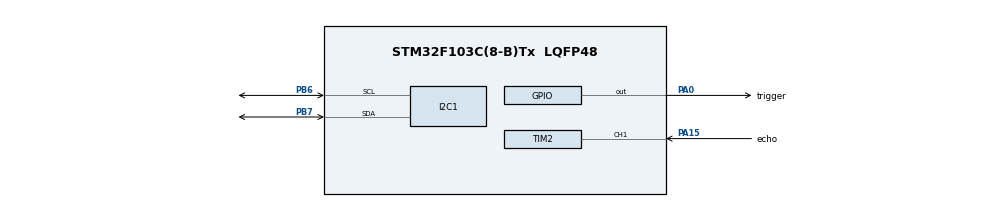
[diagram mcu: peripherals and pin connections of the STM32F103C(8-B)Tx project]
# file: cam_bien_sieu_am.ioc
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Mcu.Family=STM32F1
Mcu.Name=STM32F103C(8-B)Tx
Mcu.Package=LQFP48
NVIC.PriorityGroup=NVIC_PRIORITYGROUP_4
NVIC.TIM2_IRQn=true\:0\:0\:false\:false\:true\:true\:true\:true
PA0-WKUP.GPIO_Label=trigger
PA0-WKUP.Signal=GPIO_Output
PA15.GPIO_Label=echo
PA15.Signal=S_TIM2_CH1_ETR
PB6.Mode=I2C
PB6.Signal=I2C1_SCL
PB7.Mode=I2C
PB7.Signal=I2C1_SDA
ProjectManager.HeapSize=0x200
ProjectManager.StackSize=0x400
ProjectManager.TargetToolchain=STM32CubeIDE
RCC.APB1Freq_Value=8000000
RCC.APB2Freq_Value=8000000
SH.S_TIM2_CH1_ETR.0=TIM2_CH1,Input_Capture1_from_TI1
TIM2.Channel-Input_Capture1_from_TI1=TIM_CHANNEL_1
TIM2.Prescaler=71
VP_SYS_VS_ND.Mode=No_Debug
board=custom

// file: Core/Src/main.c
#include "main.h"
#include<stdio.h>
#include"I2C_LCD.h"

I2C_HandleTypeDef hi2c1;
TIM_HandleTypeDef htim2;

/* USER CODE BEGIN PV */
uint32_t start , stop;
uint32_t distance;

void delay(uint16_t us){
	__HAL_TIM_SET_COUNTER(&htim2,0);  // Đặt bộ đếm về 0
	while (__HAL_TIM_SET_COUNTER(&htim2,0) < us);  // Lỗi! Gọi lại __HAL_TIM_SET_COUNTER
}

// ham xu ly ngat input capture
void HAL_TIM_IC_CaptureCallback(TIM_HandleTypeDef *htim) {
	if (htim ->Instance == TIM2 && htim->Channel == HAL_TIM_ACTIVE_CHANNEL_1) {
		if ( HAL_GPIO_ReadPin(echo_GPIO_Port, echo_Pin) == 0){
			start = HAL_TIM_ReadCapturedValue(htim,TIM_CHANNEL_1); // Lưu thời điểm xung lên
		}
		else {
			stop = HAL_TIM_ReadCapturedValue(htim, TIM_CHANNEL_1);// Lưu thời điểm xung xuống
			distance = (stop - start) * 0.00343 / 2;; // Tính toán khoảng cách
		}
	}
}

// ham kich hoat chan echo
void hc_sr04_read_distance() {
    uint32_t sum = 0;
    uint8_t samples = 3; // Số lần lấy mẫu
    for (uint8_t i = 0; i < samples; i++) {
        HAL_GPIO_WritePin(trigger_GPIO_Port, trigger_Pin,SET);
        HAL_Delay(10);
        HAL_GPIO_WritePin(trigger_GPIO_Port, trigger_Pin, RESET);
        HAL_Delay(1000); // Giảm nhiễu giữa các lần đo

        sum += distance; // Cộng dồn kết quả đo
    }
    distance = sum / samples; // Lấy giá trị trung bình
}

/* USER CODE END PV */

void SystemClock_Config(void);
static void MX_GPIO_Init(void);
static void MX_I2C1_Init(void);
static void MX_TIM2_Init(void);

int main(void)
{

  /* MCU Configuration--------------------------------------------------------*/

  /* Reset of all peripherals, Initializes the Flash interface and the Systick. */
  HAL_Init();

  /* Configure the system clock */
  SystemClock_Config();

  /* Initialize all configured peripherals */
  MX_GPIO_Init();
  MX_I2C1_Init();
  MX_TIM2_Init();
  /* USER CODE BEGIN 2 */
HAL_TIM_Base_Start_IT(&htim2);
HAL_TIM_IC_Start_IT(&htim2, TIM_CHANNEL_1);

  // Khởi tạo LCD
  LCD_Init();
  LCD_Clear();
  LCD_SendString("test lcd");
  HAL_Delay(2000);
  LCD_Clear();
  LCD_PutCursor(0, 0);
  LCD_SendString("Distance:");

  char buffer[64];

  /* USER CODE END 2 */

  /* Infinite loop */
  while (1)
  {
	  	  	 hc_sr04_read_distance(); // Đọc khoảng cách từ cảm biến
	         sprintf(buffer, "%3ld cm", distance); // Chuyển đổi giá trị thành chuỗi
	         LCD_PutCursor(1, 0);
	         LCD_SendString(buffer); // Hiển thị lên LCD
	         HAL_Delay(500); // Chờ 500ms trước lần đo tiếp theo
  }
}

void SystemClock_Config(void)
{
  RCC_OscInitTypeDef RCC_OscInitStruct = {0};
  RCC_ClkInitTypeDef RCC_ClkInitStruct = {0};

  /** Initializes the RCC Oscillators according to the specified parameters
  * in the RCC_OscInitTypeDef structure.
  */
  RCC_OscInitStruct.OscillatorType = RCC_OSCILLATORTYPE_HSI;
  RCC_OscInitStruct.HSIState = RCC_HSI_ON;
  RCC_OscInitStruct.HSICalibrationValue = RCC_HSICALIBRATION_DEFAULT;
  RCC_OscInitStruct.PLL.PLLState = RCC_PLL_NONE;
  if (HAL_RCC_OscConfig(&RCC_OscInitStruct) != HAL_OK)
  {
    Error_Handler();
  }

  /** Initializes the CPU, AHB and APB buses clocks
  */
  RCC_ClkInitStruct.ClockType = RCC_CLOCKTYPE_HCLK|RCC_CLOCKTYPE_SYSCLK
                              |RCC_CLOCKTYPE_PCLK1|RCC_CLOCKTYPE_PCLK2;
  RCC_ClkInitStruct.SYSCLKSource = RCC_SYSCLKSOURCE_HSI;
  RCC_ClkInitStruct.AHBCLKDivider = RCC_SYSCLK_DIV1;
  RCC_ClkInitStruct.APB1CLKDivider = RCC_HCLK_DIV1;
  RCC_ClkInitStruct.APB2CLKDivider = RCC_HCLK_DIV1;

  if (HAL_RCC_ClockConfig(&RCC_ClkInitStruct, FLASH_LATENCY_0) != HAL_OK)
  {
    Error_Handler();
  }
}

static void MX_I2C1_Init(void)
{

  hi2c1.Instance = I2C1;
  hi2c1.Init.ClockSpeed = 100000;
  hi2c1.Init.DutyCycle = I2C_DUTYCYCLE_2;
  hi2c1.Init.OwnAddress1 = 0;
  hi2c1.Init.AddressingMode = I2C_ADDRESSINGMODE_7BIT;
  hi2c1.Init.DualAddressMode = I2C_DUALADDRESS_DISABLE;
  hi2c1.Init.OwnAddress2 = 0;
  hi2c1.Init.GeneralCallMode = I2C_GENERALCALL_DISABLE;
  hi2c1.Init.NoStretchMode = I2C_NOSTRETCH_DISABLE;
  if (HAL_I2C_Init(&hi2c1) != HAL_OK)
  {
    Error_Handler();
  }

}

static void MX_TIM2_Init(void)
{

  TIM_MasterConfigTypeDef sMasterConfig = {0};
  TIM_IC_InitTypeDef sConfigIC = {0};

  htim2.Instance = TIM2;
  htim2.Init.Prescaler = 71;
  htim2.Init.CounterMode = TIM_COUNTERMODE_UP;
  htim2.Init.Period = 65535;
  htim2.Init.ClockDivision = TIM_CLOCKDIVISION_DIV1;
  htim2.Init.AutoReloadPreload = TIM_AUTORELOAD_PRELOAD_DISABLE;
  if (HAL_TIM_IC_Init(&htim2) != HAL_OK)
  {
    Error_Handler();
  }
  sMasterConfig.MasterOutputTrigger = TIM_TRGO_RESET;
  sMasterConfig.MasterSlaveMode = TIM_MASTERSLAVEMODE_DISABLE;
  if (HAL_TIMEx_MasterConfigSynchronization(&htim2, &sMasterConfig) != HAL_OK)
  {
    Error_Handler();
  }
  sConfigIC.ICPolarity = TIM_INPUTCHANNELPOLARITY_RISING;
  sConfigIC.ICSelection = TIM_ICSELECTION_DIRECTTI;
  sConfigIC.ICPrescaler = TIM_ICPSC_DIV1;
  sConfigIC.ICFilter = 0;
  if (HAL_TIM_IC_ConfigChannel(&htim2, &sConfigIC, TIM_CHANNEL_1) != HAL_OK)
  {
    Error_Handler();
  }

}

static void MX_GPIO_Init(void)
{
  GPIO_InitTypeDef GPIO_InitStruct = {0};

  /* GPIO Ports Clock Enable */
  __HAL_RCC_GPIOA_CLK_ENABLE();
  __HAL_RCC_GPIOB_CLK_ENABLE();

  /*Configure GPIO pin Output Level */
  HAL_GPIO_WritePin(GPIOA, GPIO_PIN_0, GPIO_PIN_RESET);

  /*Configure GPIO pin : PA0 */
  GPIO_InitStruct.Pin = GPIO_PIN_0;
  GPIO_InitStruct.Mode = GPIO_MODE_OUTPUT_PP;
  GPIO_InitStruct.Pull = GPIO_NOPULL;
  GPIO_InitStruct.Speed = GPIO_SPEED_FREQ_LOW;
  HAL_GPIO_Init(GPIOA, &GPIO_InitStruct);

}

void Error_Handler(void)
{
  __disable_irq();
  while (1)
  {
  }
}
